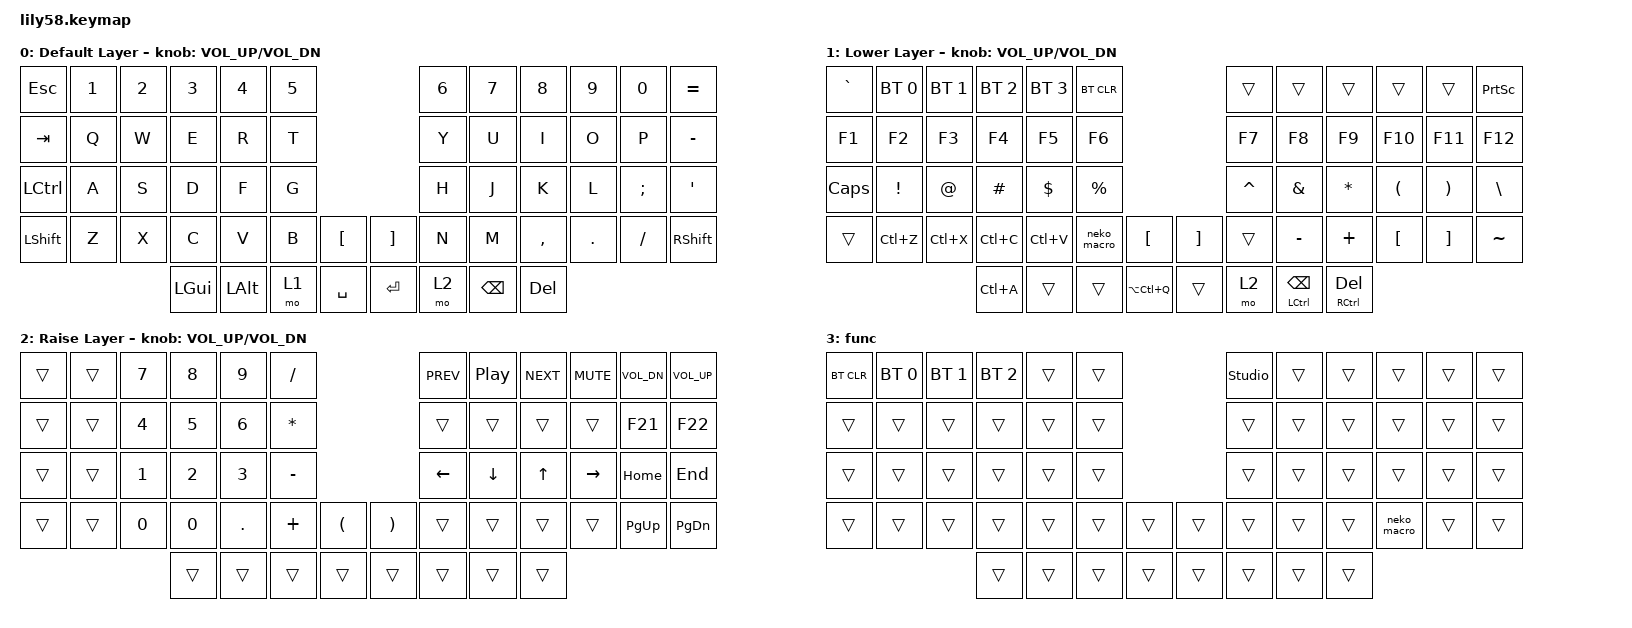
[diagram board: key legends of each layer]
/*
 * Copyright (c) 2020 The ZMK Contributors
 *
 * SPDX-License-Identifier: MIT
 */

#include <behaviors.dtsi>
#include <dt-bindings/zmk/bt.h>
#include <dt-bindings/zmk/keys.h>

/ {
    macros {
        neko_macro: cc_macro {
            compatible = "zmk,behavior-macro";
            #binding-cells = <0>;
            bindings = <&kp N &kp E &kp K &kp O &kp C &kp H &kp A &kp R &kp M>;
            label = "CC_MACRO";
            tap-ms = <8>;
            wait-ms = <8>;
        };
    };

    keymap {
        compatible = "zmk,keymap";

        default_layer {
            display-name = "Default Layer";

            // ------------------------------------------------------------------------------------------------------------
            // |  ESC  |  1  |  2  |  3   |  4   |  5   |                   |  6   |  7    |  8    |  9   |   0   |   =   |
            // |  TAB  |  Q  |  W  |  E   |  R   |  T   |                   |  Y   |  U    |  I    |  O   |   P   |   -   |
            // | CTRL  |  A  |  S  |  D   |  F   |  G   |                   |  H   |  J    |  K    |  L   |   ;   |   '   |
            // | SHIFT |  Z  |  X  |  C   |  V   |  B   |   "["  |  |  "]"  |  N   |  M    |  ,    |  .   |   /   |       |
            //                     | WIN  | ALT  | LOWER|  SPACE |  | ENTER | RAISE| BSPC  | DEL   |

            bindings = <
&kp ESC    &kp N1  &kp N2  &kp N3    &kp N4    &kp N5                         &kp N6  &kp N7    &kp N8     &kp N9   &kp N0    &kp EQUAL
&kp TAB    &kp Q   &kp W   &kp E     &kp R     &kp T                          &kp Y   &kp U     &kp I      &kp O    &kp P     &kp MINUS
&kp LCTRL  &kp A   &kp S   &kp D     &kp F     &kp G                          &kp H   &kp J     &kp K      &kp L    &kp SEMI  &kp SQT
&kp LSHFT  &kp Z   &kp X   &kp C     &kp V     &kp B   &kp LBKT     &kp RBKT  &kp N   &kp M     &kp COMMA  &kp DOT  &kp FSLH  &kp RIGHT_SHIFT
                           &kp LGUI  &kp LALT  &mo 1   &kp SPACE    &kp RET   &mo 2   &kp BSPC  &kp DEL
            >;

            sensor-bindings = <&inc_dec_kp C_VOL_UP C_VOL_DN>;
        };

        Left {
            display-name = "Lower Layer";

            // ------------------------------------------------------------------------------------------------------------
            // |   `   | BT0 | BT1 | BT2  | BT3  | BTCLR|                   |      |       |       |      |       | PSCR  |
            // |  F1   | F2  | F3  |  F4  |  F5  |  F6  |                   |  F7  |  F8   |  F9   | F10  |  F11  | F12   |
            // |       |  !  |  @  |  #   |  $   |  %   |                   |  ^   |   &   |   *   |  (   |   )   |  |    |
            // |       | C-Z | C-X | C-C  | C-V  |      |   "{"  |  |  "}"  |      |   _   |   +   |  {   |   }   |  ~    |
            //                     |      |      |      |        |  |       | RAISE|BSPC/C| DEL/C |

            bindings = <
&kp GRAVE  &bt BT_SEL 0  &bt BT_SEL 1  &bt BT_SEL 2  &bt BT_SEL 3  &bt BT_CLR                              &trans     &trans          &trans         &trans    &trans    &kp PSCRN
&kp F1     &kp F2        &kp F3        &kp F4        &kp F5        &kp F6                                  &kp F7     &kp F8          &kp F9         &kp F10   &kp F11   &kp F12
&kp CAPS   &kp EXCL      &kp AT        &kp POUND     &kp DOLLAR    &kp PRCNT                               &kp CARET  &kp AMPS        &kp ASTRK      &kp LPAR  &kp RPAR  &kp BACKSLASH
&trans     &kp LC(Z)     &kp LC(X)     &kp LC(C)     &kp LC(V)     &neko_macro  &kp LBKT         &kp RBKT  &trans     &kp MINUS       &kp PLUS       &kp LBKT  &kp RBKT  &kp TILDE
                                       &kp LC(A)     &trans        &trans       &kp LA(LC(Q))    &trans    &mo 2      &mt LCTRL BSPC  &mt RCTRL DEL
            >;

            sensor-bindings = <&inc_dec_kp C_VOL_UP C_VOL_DN>;
        };

        Right {
            display-name = "Raise Layer";

            // ------------------------------------------------------------------------------------------------------------
            // |       |     |  7  |  8   |  9   |  /   |                   | PREV | PLAY  | NEXT  | MUTE | VOL-  | VOL+  |
            // |       |     |  4  |  5   |  6   |  *   |                   |      |       |       |      |       |       |
            // |       |     |  1  |  2   |  3   |  -   |                   |  <-  |   v   |   ^   |  ->  | HOME  | END   |
            // |       |     |  0  |  0   |  .   |  +   |   "("  |  |  ")"  |      |       |       |      |       |       |
            //                     |      |      |      |        |  |       |      |       |       |

            bindings = <
&trans  &trans  &kp N7  &kp N8  &kp N9   &kp FSLH                         &kp C_PREV  &kp C_PP  &kp C_NEXT    &kp C_MUTE  &kp C_VOL_DN  &kp C_VOL_UP
&trans  &trans  &kp N4  &kp N5  &kp N6   &kp ASTRK                        &trans      &trans    &trans        &trans      &kp F21       &kp F22
&trans  &trans  &kp N1  &kp N2  &kp N3   &kp MINUS                        &kp LEFT    &kp DOWN  &kp UP_ARROW  &kp RIGHT   &kp HOME      &kp END
&trans  &trans  &kp N0  &kp N0  &kp DOT  &kp PLUS   &kp LPAR    &kp RPAR  &trans      &trans    &trans        &trans      &kp PG_UP     &kp PG_DN
                        &trans  &trans   &trans     &trans      &trans    &trans      &trans    &trans
            >;

            sensor-bindings = <&inc_dec_kp C_VOL_UP C_VOL_DN>;
        };

        func {
            bindings = <
&bt BT_CLR  &bt BT_SEL 0  &bt BT_SEL 1  &bt BT_SEL 2  &trans  &trans                    &studio_unlock  &trans  &trans  &trans       &trans  &trans
&trans      &trans        &trans        &trans        &trans  &trans                    &trans          &trans  &trans  &trans       &trans  &trans
&trans      &trans        &trans        &trans        &trans  &trans                    &trans          &trans  &trans  &trans       &trans  &trans
&trans      &trans        &trans        &trans        &trans  &trans  &trans    &trans  &trans          &trans  &trans  &neko_macro  &trans  &trans
                                        &trans        &trans  &trans  &trans    &trans  &trans          &trans  &trans
            >;
        };
    };
};
